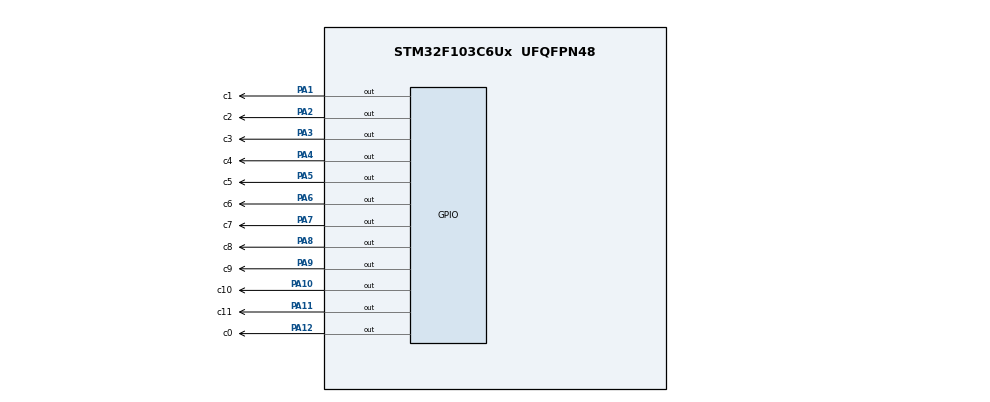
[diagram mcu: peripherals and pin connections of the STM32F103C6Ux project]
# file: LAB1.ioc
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Mcu.Family=STM32F1
Mcu.Name=STM32F103C6Ux
Mcu.Package=UFQFPN48
NVIC.PriorityGroup=NVIC_PRIORITYGROUP_4
PA1.GPIO_Label=c1
PA1.Signal=GPIO_Output
PA10.GPIO_Label=c10
PA10.Signal=GPIO_Output
PA11.GPIO_Label=c11
PA11.Signal=GPIO_Output
PA12.GPIO_Label=c0
PA12.Signal=GPIO_Output
PA2.GPIO_Label=c2
PA2.Signal=GPIO_Output
PA3.GPIO_Label=c3
PA3.Signal=GPIO_Output
PA4.GPIO_Label=c4
PA4.Signal=GPIO_Output
PA5.GPIO_Label=c5
PA5.Signal=GPIO_Output
PA6.GPIO_Label=c6
PA6.Signal=GPIO_Output
PA7.GPIO_Label=c7
PA7.Signal=GPIO_Output
PA8.GPIO_Label=c8
PA8.Signal=GPIO_Output
PA9.GPIO_Label=c9
PA9.Signal=GPIO_Output
ProjectManager.HeapSize=0x200
ProjectManager.StackSize=0x400
ProjectManager.TargetToolchain=STM32CubeIDE
RCC.APB1Freq_Value=8000000
RCC.APB2Freq_Value=8000000
VP_SYS_VS_ND.Mode=No_Debug
board=custom

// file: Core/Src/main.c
/* USER CODE BEGIN Header */
/**
  ******************************************************************************
  * @file           : main.c
  * @brief          : Main program body
  ******************************************************************************
  * @attention
  *
  * <h2><center>&copy; Copyright (c) 2024 STMicroelectronics.
  * All rights reserved.</center></h2>
  *
  * This software component is licensed by ST under BSD 3-Clause license,
  * the "License"; You may not use this file except in compliance with the
  * License. You may obtain a copy of the License at:
  *                        opensource.org/licenses/BSD-3-Clause
  *
  ******************************************************************************
  */
/* USER CODE END Header */
#include "main.h"

void SystemClock_Config(void);
static void MX_GPIO_Init(void);
/* USER CODE BEGIN PFP */
void clearNumberOnClock(int num);
void setNumberOnClock(int num);
void clearAllClock(void);
void Ex10(int *hour, int *minute, int *second);
/* USER CODE END PFP */

int main(void)
{

  /* MCU Configuration--------------------------------------------------------*/

  /* Reset of all peripherals, Initializes the Flash interface and the Systick. */
  HAL_Init();

  /* Configure the system clock */
  SystemClock_Config();

  /* Initialize all configured peripherals */
  MX_GPIO_Init();
  /* USER CODE BEGIN 2 */
  int second = 45;
  int minute = 59;
  int hour = 11;

  int *p0 = &second;
  int *p1 = &minute;
  int *p2 = &hour;

  clearAllClock();
  /* USER CODE END 2 */

  /* Infinite loop */
  while (1)
  {
	  Ex10(p2, p1, p0);
  }
}

void SystemClock_Config(void)
{
  RCC_OscInitTypeDef RCC_OscInitStruct = {0};
  RCC_ClkInitTypeDef RCC_ClkInitStruct = {0};

  /** Initializes the RCC Oscillators according to the specified parameters
  * in the RCC_OscInitTypeDef structure.
  */
  RCC_OscInitStruct.OscillatorType = RCC_OSCILLATORTYPE_HSI;
  RCC_OscInitStruct.HSIState = RCC_HSI_ON;
  RCC_OscInitStruct.HSICalibrationValue = RCC_HSICALIBRATION_DEFAULT;
  RCC_OscInitStruct.PLL.PLLState = RCC_PLL_NONE;
  if (HAL_RCC_OscConfig(&RCC_OscInitStruct) != HAL_OK)
  {
    Error_Handler();
  }
  /** Initializes the CPU, AHB and APB buses clocks
  */
  RCC_ClkInitStruct.ClockType = RCC_CLOCKTYPE_HCLK|RCC_CLOCKTYPE_SYSCLK
                              |RCC_CLOCKTYPE_PCLK1|RCC_CLOCKTYPE_PCLK2;
  RCC_ClkInitStruct.SYSCLKSource = RCC_SYSCLKSOURCE_HSI;
  RCC_ClkInitStruct.AHBCLKDivider = RCC_SYSCLK_DIV1;
  RCC_ClkInitStruct.APB1CLKDivider = RCC_HCLK_DIV1;
  RCC_ClkInitStruct.APB2CLKDivider = RCC_HCLK_DIV1;

  if (HAL_RCC_ClockConfig(&RCC_ClkInitStruct, FLASH_LATENCY_0) != HAL_OK)
  {
    Error_Handler();
  }
}

static void MX_GPIO_Init(void)
{
  GPIO_InitTypeDef GPIO_InitStruct = {0};

  /* GPIO Ports Clock Enable */
  __HAL_RCC_GPIOA_CLK_ENABLE();

  /*Configure GPIO pin Output Level */
  HAL_GPIO_WritePin(GPIOA, c1_Pin|c2_Pin|c3_Pin|c4_Pin
                          |c5_Pin|c6_Pin|c7_Pin|c8_Pin
                          |c9_Pin|c10_Pin|c11_Pin|c0_Pin, GPIO_PIN_RESET);

  /*Configure GPIO pins : c1_Pin c2_Pin c3_Pin c4_Pin
                           c5_Pin c6_Pin c7_Pin c8_Pin
                           c9_Pin c10_Pin c11_Pin c0_Pin */
  GPIO_InitStruct.Pin = c1_Pin|c2_Pin|c3_Pin|c4_Pin
                          |c5_Pin|c6_Pin|c7_Pin|c8_Pin
                          |c9_Pin|c10_Pin|c11_Pin|c0_Pin;
  GPIO_InitStruct.Mode = GPIO_MODE_OUTPUT_PP;
  GPIO_InitStruct.Pull = GPIO_NOPULL;
  GPIO_InitStruct.Speed = GPIO_SPEED_FREQ_LOW;
  HAL_GPIO_Init(GPIOA, &GPIO_InitStruct);

}

/* USER CODE BEGIN 4 */
void Ex10(int *hour, int *minute, int *second)
{
	if((*second) == 60)
	{
		if((*second)/5 != (*minute)/5 + 1 && (*second)/5 != (*hour) + 1 )
		{
			clearNumberOnClock((*second)/5 - 1);
		}

		(*second) = 0;
		(*minute)++;
	}

	setNumberOnClock((*second)/5);

	if((*second)/5 != (*minute)/5 + 1 && (*second)/5 != (*hour) + 1 )
	{
		clearNumberOnClock((*second)/5 - 1);
	}

	if((*minute) == 60)
	{
		if((*minute)/5 != (*second)/5 + 1 && (*minute)/5 != (*hour) + 1)
		{
			clearNumberOnClock((*minute)/5 - 1);
		}

		(*minute) = 0;
		(*hour)++;
	}

	setNumberOnClock((*minute)/5);

	if((*minute)/5 != (*second)/5 + 1 && (*minute)/5 != (*hour) + 1)
	{
		clearNumberOnClock((*minute)/5 - 1);
	}

	if((*hour) == 12)
	{
		if((*hour) != (*second)/5 + 1 && (*hour) != (*minute)/5 + 1)
		{
			clearNumberOnClock((*hour) - 1);
		}

		(*hour) = 0;
	}

	setNumberOnClock((*hour));

	if((*hour) != (*second)/5 + 1 && (*hour) != (*minute)/5 + 1)
	{
		clearNumberOnClock((*hour) - 1);
	}

	(*second)++;
	HAL_Delay(1000);
}

void clearAllClock(void)
{
	  HAL_GPIO_WritePin(c0_GPIO_Port, c0_Pin, GPIO_PIN_SET);
	  HAL_GPIO_WritePin(c1_GPIO_Port, c1_Pin, GPIO_PIN_SET);
	  HAL_GPIO_WritePin(c2_GPIO_Port, c2_Pin, GPIO_PIN_SET);
	  HAL_GPIO_WritePin(c3_GPIO_Port, c3_Pin, GPIO_PIN_SET);
	  HAL_GPIO_WritePin(c4_GPIO_Port, c4_Pin, GPIO_PIN_SET);
	  HAL_GPIO_WritePin(c5_GPIO_Port, c5_Pin, GPIO_PIN_SET);
	  HAL_GPIO_WritePin(c6_GPIO_Port, c6_Pin, GPIO_PIN_SET);
	  HAL_GPIO_WritePin(c7_GPIO_Port, c7_Pin, GPIO_PIN_SET);
	  HAL_GPIO_WritePin(c8_GPIO_Port, c8_Pin, GPIO_PIN_SET);
	  HAL_GPIO_WritePin(c9_GPIO_Port, c9_Pin, GPIO_PIN_SET);
	  HAL_GPIO_WritePin(c10_GPIO_Port, c10_Pin, GPIO_PIN_SET);
	  HAL_GPIO_WritePin(c11_GPIO_Port, c11_Pin, GPIO_PIN_SET);
}

void clearNumberOnClock(int num)
{
	switch (num)
	{
	    case 0:
	    {
	         HAL_GPIO_WritePin(c0_GPIO_Port, c0_Pin, GPIO_PIN_SET);
	         break;
	    }
	    case 1:
	    {
	         HAL_GPIO_WritePin(c1_GPIO_Port, c1_Pin, GPIO_PIN_SET);
	         break;
	    }
	    case 2:
	    {
	         HAL_GPIO_WritePin(c2_GPIO_Port, c2_Pin, GPIO_PIN_SET);
	         break;
	    }
	    case 3:
	    {
	         HAL_GPIO_WritePin(c3_GPIO_Port, c3_Pin, GPIO_PIN_SET);
	         break;
	    }
	    case 4:
	    {
	         HAL_GPIO_WritePin(c4_GPIO_Port, c4_Pin, GPIO_PIN_SET);
	         break;
	    }
	    case 5:
	    {
	         HAL_GPIO_WritePin(c5_GPIO_Port, c5_Pin, GPIO_PIN_SET);
	         break;
	    }
	    case 6:
	    {
	         HAL_GPIO_WritePin(c6_GPIO_Port, c6_Pin, GPIO_PIN_SET);
	         break;
	    }
	    case 7:
	    {
	         HAL_GPIO_WritePin(c7_GPIO_Port, c7_Pin, GPIO_PIN_SET);
	         break;
	    }
	    case 8:
	    {
	         HAL_GPIO_WritePin(c8_GPIO_Port, c8_Pin, GPIO_PIN_SET);
	         break;
	    }
	    case 9:
	    {
	         HAL_GPIO_WritePin(c9_GPIO_Port, c9_Pin, GPIO_PIN_SET);
	         break;
	    }
	    case 10:
	    {
	         HAL_GPIO_WritePin(c10_GPIO_Port, c10_Pin, GPIO_PIN_SET);
	         break;
	    }
	    case 11:
	    {
	         HAL_GPIO_WritePin(c11_GPIO_Port, c11_Pin, GPIO_PIN_SET);
	         break;
	    }
	}
}

void setNumberOnClock(int num)
{
	switch (num)
	{
	    case 0:
	    {
	         HAL_GPIO_WritePin(c0_GPIO_Port, c0_Pin, GPIO_PIN_RESET);
	         break;
	    }
	    case 1:
	    {
	         HAL_GPIO_WritePin(c1_GPIO_Port, c1_Pin, GPIO_PIN_RESET);
	         break;
	    }
	    case 2:
	    {
	         HAL_GPIO_WritePin(c2_GPIO_Port, c2_Pin, GPIO_PIN_RESET);
	         break;
	    }
	    case 3:
	    {
	         HAL_GPIO_WritePin(c3_GPIO_Port, c3_Pin, GPIO_PIN_RESET);
	         break;
	    }
	    case 4:
	    {
	         HAL_GPIO_WritePin(c4_GPIO_Port, c4_Pin, GPIO_PIN_RESET);
	         break;
	    }
	    case 5:
	    {
	         HAL_GPIO_WritePin(c5_GPIO_Port, c5_Pin, GPIO_PIN_RESET);
	         break;
	    }
	    case 6:
	    {
	         HAL_GPIO_WritePin(c6_GPIO_Port, c6_Pin, GPIO_PIN_RESET);
	         break;
	    }
	    case 7:
	    {
	         HAL_GPIO_WritePin(c7_GPIO_Port, c7_Pin, GPIO_PIN_RESET);
	         break;
	    }
	    case 8:
	    {
	         HAL_GPIO_WritePin(c8_GPIO_Port, c8_Pin, GPIO_PIN_RESET);
	         break;
	    }
	    case 9:
	    {
	         HAL_GPIO_WritePin(c9_GPIO_Port, c9_Pin, GPIO_PIN_RESET);
	         break;
	    }
	    case 10:
	    {
	         HAL_GPIO_WritePin(c10_GPIO_Port, c10_Pin, GPIO_PIN_RESET);
	         break;
	    }
	    case 11:
	    {
	         HAL_GPIO_WritePin(c11_GPIO_Port, c11_Pin, GPIO_PIN_RESET);
	         break;
	    }
	}
}

/* USER CODE END 4 */

void Error_Handler(void)
{
  __disable_irq();
  while (1)
  {
  }
}

/************************ (C) COPYRIGHT STMicroelectronics *****END OF FILE****/
